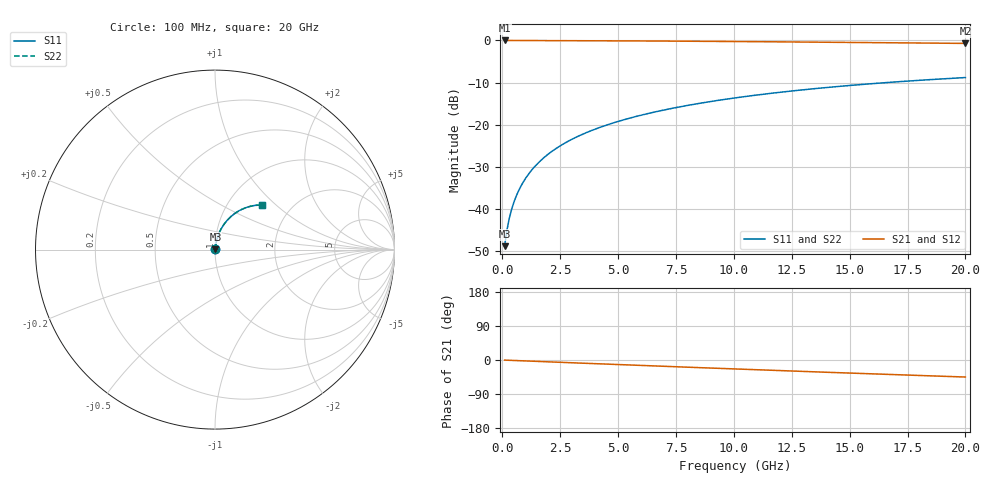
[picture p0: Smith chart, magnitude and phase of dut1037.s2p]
! Touchstone file exported from HFSS 2026.1.0
!  File:  C:/ffzhzh/LocalFiles/Ansys_Project_Files/temp_train_BSMRDL_1037_1783173704_22436.aedt
!  Generated:  10:03:00 PM Jul  4, 2026
!  Design:  BSMRDL
!  Project:  temp_train_BSMRDL_1037_1783173704_22436
! Variables:
!  h_bsmrdl = 4.63um
!  h_ox = 20um
!  h_rdl = 5um
!  h_sub = 80um
!  h_tmrdl = 5um
!  h_tsv = 80um
!  h_via = 3um
!  l_bsmrdl = 695.73um
!  l_sub = 1095.73um
!  l_tmrdl = 200um
!  m_sub = 200um
!  pitch = 44.18um
!  r_tsv = 6um
!  s_tmrdl = 10um
!  w_bsmrdl = 21.62um
!  w_sub = 500um
!  w_tmrdl = 12um
!  x_tsv_center1 = 206um
!  x_tsv_center2 = 923.35um
!  x_tsv_center3 = 1135.35um
!  x_tsv_center4 = 1852.7um
!  x_tsv_center5 = 2064.7um
!  x_tsv_center6 = 2782.05um
# GHz S MA R 50.000000
! Terminal data exported
! Port[1] = BSM_RDL1_1_T1
! Port[2] = BSM_RDL1_1_T2
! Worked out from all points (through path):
!   200 points, 100 MHz to 20 GHz, reference 50 ohm
!   highest |S21| = -0.02 dB at 100 MHz (marker M1); lowest = -0.7 dB at 20 GHz (marker M2)
!   group delay of S21, straight-line fit = 6.24 ps
!   lowest |S11| = -48.8 dB at 100 MHz (marker M3), VSWR 1.01, Z = 50.3 + j0.25 ohm
!   |S11| at or under -10 dB: start of sweep to 16.61 GHz
!   |S22| runs from -48.8 to -8.8 dB; largest |S21 - S12| = 3.3e-15
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0.1  0.003637 43.2  0.9974 -0.3  0.9974 -0.3  0.003637 43.2
! Gamma 0 0 0 0
! Port Impedance 50 0 50 0
0.2  0.005625 59.4  0.9972 -0.5  0.9972 -0.5  0.005625 59.4
0.3  0.00773 66.7  0.997 -0.8  0.997 -0.8  0.007731 66.7
0.4  0.009865 70.9  0.9969 -1.0  0.9969 -1.0  0.009865 70.9
0.5  0.01202 73.6  0.9968 -1.2  0.9968 -1.2  0.01202 73.6
0.6  0.0142 75.5  0.9967 -1.5  0.9967 -1.5  0.0142 75.5
0.8  0.0186 77.8  0.9965 -2.0  0.9965 -2.0  0.0186 77.8
1.1  0.02524 79.5  0.9962 -2.7  0.9962 -2.7  0.02524 79.5
1.5  0.03413 80.2  0.9958 -3.7  0.9958 -3.7  0.03413 80.2
1.8  0.04078 80.2  0.9953 -4.4  0.9953 -4.4  0.04078 80.2
2.1  0.04741 80.0  0.9948 -5.1  0.9948 -5.1  0.04741 80.0
2.7  0.06056 79.2  0.9937 -6.6  0.9937 -6.6  0.06056 79.2
3.5  0.07783 77.7  0.9918 -8.5  0.9918 -8.5  0.07783 77.7
4.2  0.09269 76.3  0.99 -10.1  0.99 -10.1  0.0927 76.3
5  0.1094 74.7  0.9876 -12.0  0.9876 -12.0  0.1094 74.6
5.9  0.1278 72.7  0.9848 -14.1  0.9848 -14.1  0.1278 72.7
6.8  0.1459 70.8  0.9817 -16.2  0.9817 -16.2  0.1459 70.8
8.3  0.1752 67.6  0.976 -19.7  0.976 -19.7  0.1752 67.5
10.1  0.2088 63.7  0.9686 -23.7  0.9686 -23.7  0.2088 63.7
13.4  0.2663 56.8  0.9534 -31.0  0.9534 -31.0  0.2663 56.7
16.7  0.3176 49.9  0.937 -38.1  0.937 -38.1  0.3176 49.9
20  0.3623 43.3  0.9203 -44.9  0.9203 -44.9  0.3623 43.2
